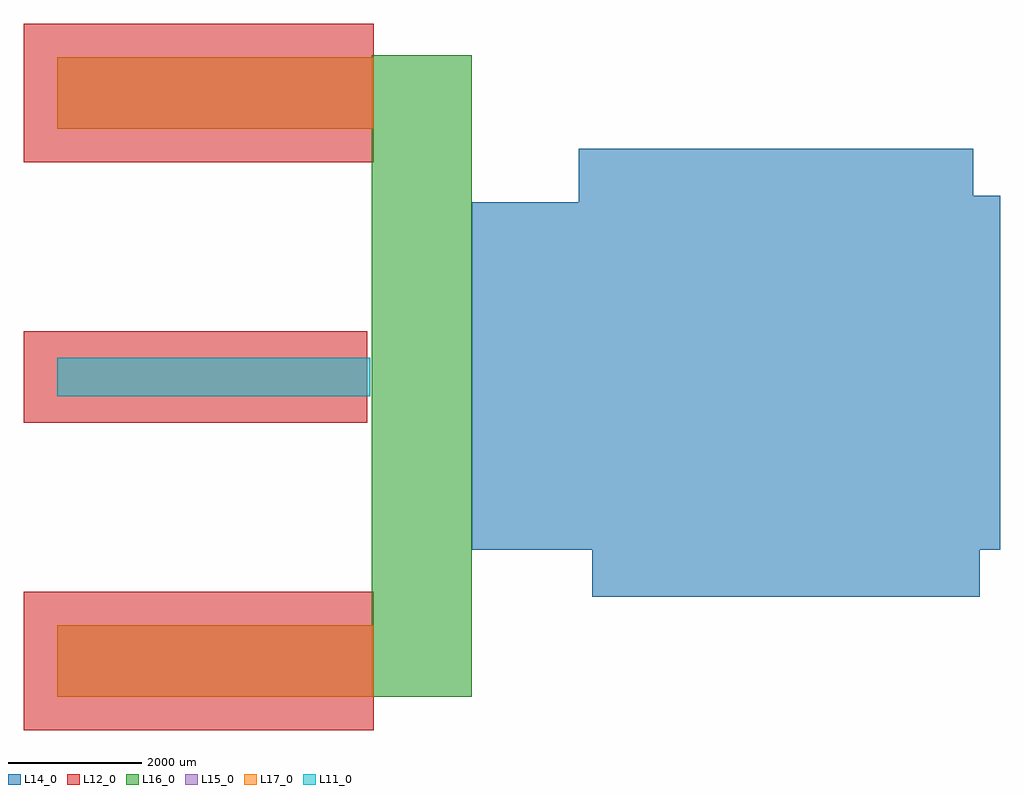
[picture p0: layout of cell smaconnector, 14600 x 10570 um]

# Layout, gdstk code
import gdstk
lib = gdstk.Library(unit=1e-6, precision=1e-09)
def R(c, l, rs):  # rectangles x0, y0, x1, y1
    for r in rs: c.add(gdstk.rectangle(r[:2], r[2:], *l))
def P(c, l, *ps):  # polygons
    for p in ps: c.add(gdstk.Polygon(p, *l))
L11_0 = (11, 0)
L12_0 = (12, 0)
L14_0 = (14, 0)
L15_0 = (15, 0)
L16_0 = (16, 0)
L17_0 = (17, 0)
L99_1 = (99, 1)

smaconnector = lib.new_cell('smaconnector')
R(smaconnector, L11_0, [(-300,-300,4381,270)])
R(smaconnector, L12_0, [(-800,-5300,4432,-3230), (-800,-700,4332,670), (-800,3200,4432,5270)])
P(smaconnector, L14_0, [(5900,2600),(7500,2600),(7500,3400),(13400,3400),(13400,2700),(13800,2700),(13800,-2600),(13500,-2600),(13500,-3300),(7700,-3300),(7700,-2600),(5900,-2600)])
R(smaconnector, L15_0, [(-300,-4800,4432,-3730), (-300,3700,4432,4770)])
R(smaconnector, L16_0, [(4400,-4800,5900,4800)])
R(smaconnector, L17_0, [(-300,-4800,4432,-3730), (-300,3700,4432,4770)])
smaconnector.add(gdstk.FlexPath([(4181,-600),(4181,670)], 0, ends="round", simple_path=True, layer=99, datatype=1))  # L99_1

lib.write_gds('smaconnector.gds')
